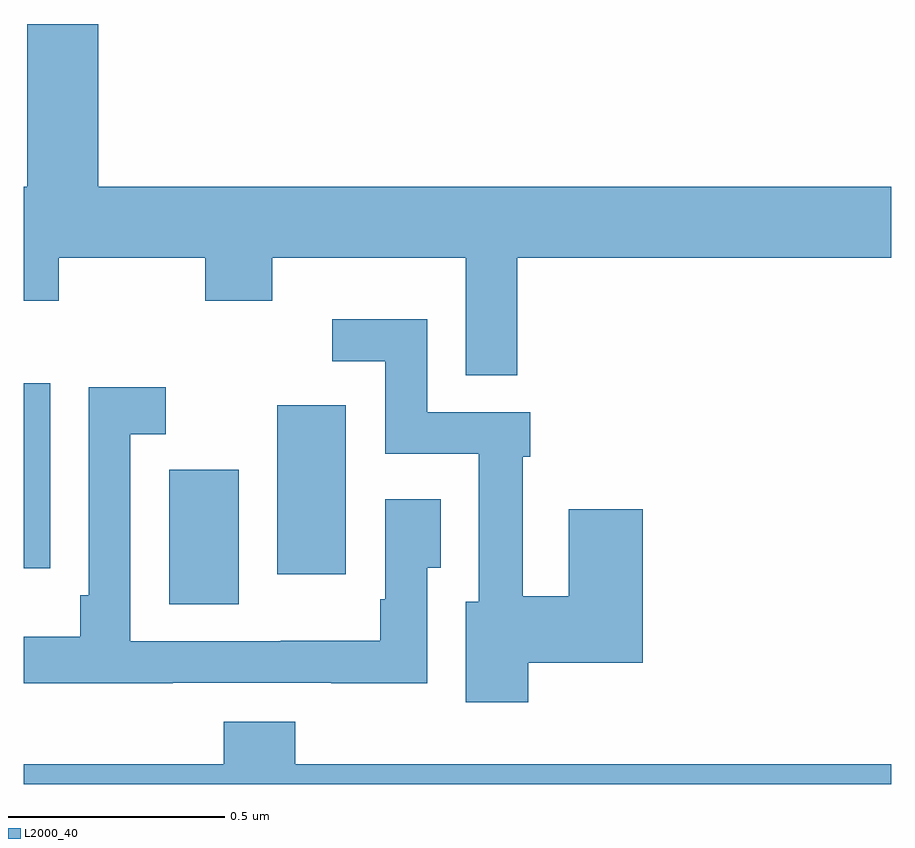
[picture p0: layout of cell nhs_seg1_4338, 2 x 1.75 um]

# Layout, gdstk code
import gdstk
lib = gdstk.Library(unit=1e-6, precision=1e-09)
def R(c, l, rs):  # rectangles x0, y0, x1, y1
    for r in rs: c.add(gdstk.rectangle(r[:2], r[2:], *l))
def P(c, l, *ps):  # polygons
    for p in ps: c.add(gdstk.Polygon(p, *l))
L2000_40 = (2000, 40)

nhs_seg1_4338 = lib.new_cell('nhs_seg1_4338')
R(nhs_seg1_4338, L2000_40, [(165.335,537.613,165.496,537.924), (165.584,537.683,165.742,538.072), (165,537.696,165.061,538.123)])
P(nhs_seg1_4338, L2000_40, [(166.138,538.412),(167,538.412),(167,538.576),(165.172,538.576),(165.172,538.951),(165.008,538.951),(165.008,538.576),(165,538.576),(165,538.313),(165.081,538.313),(165.081,538.412),(165.418,538.412),(165.418,538.313),(165.573,538.313),(165.573,538.412),(166.019,538.412),(166.019,538.141),(166.138,538.141)],
  [(166.163,537.479),(166.427,537.479),(166.427,537.832),(166.256,537.832),(166.256,537.632),(166.15,537.632),(166.15,537.953),(166.168,537.953),(166.168,538.056),(165.93,538.056),(165.93,538.27),(165.711,538.27),(165.711,538.173),(165.834,538.173),(165.834,537.96),(166.049,537.96),(166.049,537.619),(166.019,537.619),(166.019,537.387),(166.163,537.387)],
  [(165.343,537.432),(165.709,537.432),(165.709,537.431),(165.93,537.431),(165.93,537.697),(165.961,537.697),(165.961,537.856),(165.834,537.856),(165.834,537.625),(165.822,537.625),(165.822,537.529),(165.592,537.529),(165.592,537.528),(165.246,537.528),(165.246,538.005),(165.328,538.005),(165.328,538.114),(165.15,538.114),(165.15,537.634),(165.13,537.634),(165.13,537.538),(165,537.538),(165,537.431),(165.343,537.431)],
  [(167,537.244),(165.626,537.244),(165.626,537.343),(165.461,537.343),(165.461,537.244),(165,537.244),(165,537.199),(167,537.199)])

lib.write_gds('nhs_seg1_4338.gds')
